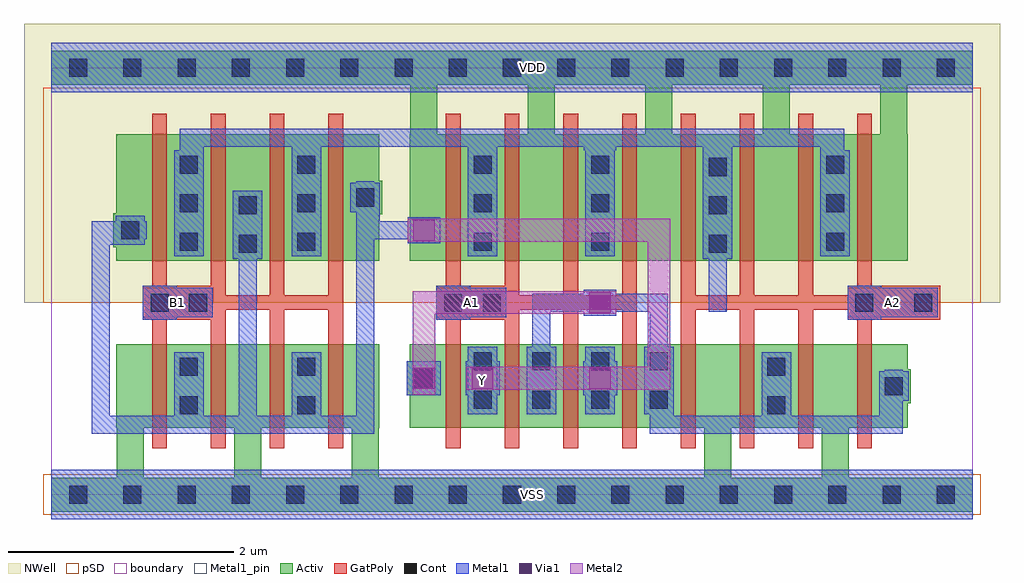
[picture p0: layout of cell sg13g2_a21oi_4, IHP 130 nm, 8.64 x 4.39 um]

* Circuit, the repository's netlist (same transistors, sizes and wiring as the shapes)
.SUBCKT sg13g2_a21oi_4 Y A1 A2 B1 VDD VSS
*.PININFO A1:I A2:I B1:I Y:O VDD:B VSS:B
MN0 Y B1 VSS VSS sg13_lv_nmos w=2.96u l=130.00n ng=4
MN2 net2 A2 VSS VSS sg13_lv_nmos w=2.96u l=130.00n ng=4
MN1 Y A1 net2 VSS sg13_lv_nmos w=2.96u l=130.00n ng=4
MP2 Y B1 net1 VDD sg13_lv_pmos w=4.48u l=130.00n ng=4
MP1 net1 A2 VDD VDD sg13_lv_pmos w=4.48u l=130.00n ng=4
MP0 net1 A1 VDD VDD sg13_lv_pmos w=4.48u l=130.00n ng=4
.ENDS

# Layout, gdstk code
import gdstk
lib = gdstk.Library(unit=1e-6, precision=1e-09)
def R(c, l, rs):  # rectangles x0, y0, x1, y1
    for r in rs: c.add(gdstk.rectangle(r[:2], r[2:], *l))
def A(c, l, x, y, w, h, nx, ny, dx, dy):  # array of equal rectangles
    R(c, l, [(x+i*dx, y+j*dy, x+i*dx+w, y+j*dy+h) for i in range(nx) for j in range(ny)])
def P(c, l, *ps):  # polygons
    for p in ps: c.add(gdstk.Polygon(p, *l))
Activ = (1, 0)
GatPoly = (5, 0)
Cont = (6, 0)
Metal1 = (8, 0)
Metal1_pin = (8, 2)
Metal2 = (10, 0)
pSD = (14, 0)
Via1 = (19, 0)
NWell = (31, 0)
boundary = (189, 4)

sg13g2_a21oi_4 = lib.new_cell('sg13g2_a21oi_4')
P(sg13g2_a21oi_4, Activ, [(6.02,0.59),(6.02,1.33),(3.175,1.33),(3.175,1.18),(3.15,1.18),(3.15,0.88),(3.175,0.88),(3.175,0.59),(5.78,0.59),(5.78,0.15),(2.9,0.15),(2.9,0.59),(2.905,0.59),(2.905,1.33),(1.86,1.33),(1.86,0.59),(1.86,1.33),(0.82,1.33),(0.82,0.59),(0.82,1.33),(0.575,1.33),(0.575,0.59),(0.58,0.59),(0.58,0.15),(0,0.15),(0,-0.15),(0.82,-0.15),(0.82,0.59),(1.62,0.59),(1.62,0.15),(0.82,0.15),(0.82,-0.15),(1.86,-0.15),(1.86,0.59),(2.66,0.59),(2.66,0.15),(1.86,0.15),(1.86,-0.15),(6.02,-0.15),(6.02,0.59),(6.82,0.59),(6.82,0.15),(6.02,0.15),(6.02,-0.15),(8.16,-0.15),(8.16,0.15),(7.06,0.15),(7.06,0.59),(7.585,0.59),(7.585,0.81),(7.61,0.81),(7.61,1.11),(7.585,1.11),(7.585,1.33),(6.02,1.33)],
  [(3.18,3.19),(3.42,3.19),(3.42,3.63),(4.22,3.63),(4.22,3.19),(4.46,3.19),(4.46,3.63),(5.26,3.63),(5.26,3.19),(5.5,3.19),(5.5,3.63),(6.3,3.63),(6.3,3.19),(6.54,3.19),(6.54,3.63),(7.34,3.63),(7.34,3.19),(7.58,3.19),(7.58,3.63),(8.16,3.63),(8.16,3.93),(0,3.93),(0,3.63),(3.18,3.63),(3.18,3.19),(3.175,3.19),(3.175,2.07),(7.585,2.07),(7.585,3.19)],
  [(0.55,2.19),(0.575,2.19),(0.575,2.07),(2.905,2.07),(2.905,2.48),(2.93,2.48),(2.93,2.78),(2.905,2.78),(2.905,3.19),(0.575,3.19),(0.575,2.49),(0.55,2.49)])
P(sg13g2_a21oi_4, GatPoly, [(0.81,1.55),(0.895,1.55),(0.895,0.41),(1.025,0.41),(1.025,1.55),(1.415,1.55),(1.415,0.41),(1.545,0.41),(1.545,1.635),(1.935,1.635),(1.935,0.41),(2.065,0.41),(2.065,1.635),(2.455,1.635),(2.455,0.41),(2.585,0.41),(2.585,3.37),(2.455,3.37),(2.455,1.765),(2.065,1.765),(2.065,3.37),(1.935,3.37),(1.935,1.765),(1.545,1.765),(1.545,3.37),(1.415,3.37),(1.415,1.85),(1.025,1.85),(1.025,3.37),(0.895,3.37),(0.895,1.85),(0.81,1.85)],
  [(3.41,1.55),(3.495,1.55),(3.495,0.41),(3.625,0.41),(3.625,1.55),(4.015,1.55),(4.015,0.41),(4.145,0.41),(4.145,1.635),(4.535,1.635),(4.535,0.41),(4.665,0.41),(4.665,1.635),(5.055,1.635),(5.055,0.41),(5.185,0.41),(5.185,3.37),(5.055,3.37),(5.055,1.765),(4.665,1.765),(4.665,3.37),(4.535,3.37),(4.535,1.765),(4.145,1.765),(4.145,3.37),(4.015,3.37),(4.015,1.85),(3.625,1.85),(3.625,3.37),(3.495,3.37),(3.495,1.85),(3.41,1.85)],
  [(5.575,0.41),(5.705,0.41),(5.705,1.635),(6.095,1.635),(6.095,0.41),(6.225,0.41),(6.225,1.635),(6.615,1.635),(6.615,0.41),(6.745,0.41),(6.745,1.635),(7.05,1.635),(7.05,1.55),(7.135,1.55),(7.135,0.41),(7.265,0.41),(7.265,1.55),(7.87,1.55),(7.87,1.85),(7.265,1.85),(7.265,3.37),(7.135,3.37),(7.135,1.85),(7.05,1.85),(7.05,1.765),(6.745,1.765),(6.745,3.37),(6.615,3.37),(6.615,1.765),(6.225,1.765),(6.225,3.37),(6.095,3.37),(6.095,1.765),(5.705,1.765),(5.705,3.37),(5.575,3.37)])
A(sg13g2_a21oi_4, Cont, 0.16, -0.08, 0.16, 0.16, 17, 2, 0.48, 3.78)
A(sg13g2_a21oi_4, Cont, 3.74, 0.76, 0.16, 0.16, 4, 2, 0.52, 0.34)
A(sg13g2_a21oi_4, Cont, 5.82, 2.14, 0.16, 0.16, 1, 3, 0, 0.34)
A(sg13g2_a21oi_4, Cont, 1.14, 2.16, 0.16, 0.16, 1, 3, 0, 0.34)
A(sg13g2_a21oi_4, Cont, 2.18, 2.16, 0.16, 0.16, 1, 3, 0, 0.34)
A(sg13g2_a21oi_4, Cont, 3.74, 2.16, 0.16, 0.16, 1, 3, 0, 0.34)
A(sg13g2_a21oi_4, Cont, 4.78, 2.16, 0.16, 0.16, 1, 3, 0, 0.34)
A(sg13g2_a21oi_4, Cont, 6.86, 2.16, 0.16, 0.16, 1, 3, 0, 0.34)
R(sg13g2_a21oi_4, Cont, [(1.14,0.71,1.3,0.87), (2.18,0.71,2.34,0.87), (6.34,0.71,6.5,0.87), (7.38,0.88,7.54,1.04), (3.22,0.95,3.38,1.11), (1.14,1.05,1.3,1.21), (2.18,1.05,2.34,1.21), (6.34,1.05,6.5,1.21), (0.88,1.62,1.04,1.78), (1.22,1.62,1.38,1.78), (3.48,1.62,3.64,1.78), (3.82,1.62,3.98,1.78), (7.12,1.62,7.28,1.78), (7.64,1.62,7.8,1.78), (1.66,2.14,1.82,2.3), (0.62,2.26,0.78,2.42), (1.66,2.48,1.82,2.64), (2.7,2.55,2.86,2.71)])
R(sg13g2_a21oi_4, Metal1, [(0,-0.22,8.16,0.22), (3.15,0.88,3.45,1.18), (0,3.56,8.16,4)])
P(sg13g2_a21oi_4, Metal1, [(0.36,0.54),(2.86,0.54),(2.86,2.26),(3.155,2.26),(3.155,2.225),(3.445,2.225),(3.445,2.455),(3.155,2.455),(3.155,2.42),(2.91,2.42),(2.91,2.76),(2.86,2.76),(2.86,2.775),(2.7,2.775),(2.7,2.76),(2.65,2.76),(2.65,2.5),(2.7,2.5),(2.7,0.7),(2.39,0.7),(2.39,1.26),(2.13,1.26),(2.13,0.7),(1.82,0.7),(1.82,2.09),(1.87,2.09),(1.87,2.69),(1.61,2.69),(1.61,2.09),(1.66,2.09),(1.66,0.7),(1.35,0.7),(1.35,1.26),(1.09,1.26),(1.09,0.7),(0.52,0.7),(0.52,2.21),(0.83,2.21),(0.83,2.26),(0.845,2.26),(0.845,2.42),(0.83,2.42),(0.83,2.47),(0.57,2.47),(0.57,2.42),(0.36,2.42)],
  [(0.81,1.55),(1.11,1.55),(1.11,1.57),(1.43,1.57),(1.43,1.83),(1.11,1.83),(1.11,1.85),(0.81,1.85)],
  [(1.09,2.11),(1.35,2.11),(1.35,3.08),(2.13,3.08),(2.13,2.11),(2.39,2.11),(2.39,3.08),(3.69,3.08),(3.69,2.11),(3.95,2.11),(3.95,3.08),(4.715,3.08),(4.715,3.05),(4.73,3.05),(4.73,2.11),(4.99,2.11),(4.99,3.05),(5.005,3.05),(5.005,3.08),(5.77,3.08),(5.77,2.09),(5.82,2.09),(5.82,1.62),(5.98,1.62),(5.98,2.09),(6.03,2.09),(6.03,3.08),(6.81,3.08),(6.81,2.11),(7.07,2.11),(7.07,3.05),(7.02,3.05),(7.02,3.24),(1.14,3.24),(1.14,3.05),(1.09,3.05)],
  [(3.41,1.55),(3.71,1.55),(3.71,1.57),(4.03,1.57),(4.03,1.83),(3.71,1.83),(3.71,1.85),(3.41,1.85)],
  [(3.67,0.88),(3.69,0.88),(3.69,0.71),(3.95,0.71),(3.95,0.88),(3.97,0.88),(3.97,1.18),(3.95,1.18),(3.95,1.31),(3.69,1.31),(3.69,1.18),(3.67,1.18)],
  [(4.21,0.71),(4.47,0.71),(4.47,1.31),(4.42,1.31),(4.42,1.62),(4.715,1.62),(4.715,1.585),(5.005,1.585),(5.005,1.62),(5.3,1.62),(5.3,1.31),(5.25,1.31),(5.25,0.71),(5.3,0.71),(5.3,0.54),(7.54,0.54),(7.54,0.83),(7.59,0.83),(7.59,1.09),(7.54,1.09),(7.54,1.105),(7.38,1.105),(7.38,1.09),(7.33,1.09),(7.33,0.7),(6.55,0.7),(6.55,1.26),(6.29,1.26),(6.29,0.7),(5.51,0.7),(5.51,1.31),(5.46,1.31),(5.46,1.78),(5.005,1.78),(5.005,1.815),(4.715,1.815),(4.715,1.78),(4.26,1.78),(4.26,1.31),(4.21,1.31)],
  [(4.71,0.88),(4.73,0.88),(4.73,0.71),(4.99,0.71),(4.99,0.88),(5.01,0.88),(5.01,1.18),(4.99,1.18),(4.99,1.31),(4.73,1.31),(4.73,1.18),(4.71,1.18)],
  [(7.05,1.55),(7.35,1.55),(7.35,1.57),(7.85,1.57),(7.85,1.83),(7.35,1.83),(7.35,1.85),(7.05,1.85)])
R(sg13g2_a21oi_4, Metal1_pin, [(0,-0.22,8.16,0.22), (3.69,0.71,3.95,1.31), (0.81,1.57,1.43,1.83), (3.41,1.57,4.03,1.83), (7.05,1.57,7.85,1.83), (0,3.56,8.16,4)])
P(sg13g2_a21oi_4, Metal2, [(3.155,2.24),(5.28,2.24),(5.28,1.13),(3.675,1.13),(3.675,0.93),(5.48,0.93),(5.48,2.44),(3.155,2.44)],
  [(3.2,0.885),(3.4,0.885),(3.4,1.6),(5.005,1.6),(5.005,1.8),(3.2,1.8)])
R(sg13g2_a21oi_4, pSD, [(-0.07,-0.18,8.23,0.18), (-0.07,1.7,8.23,3.6)])
R(sg13g2_a21oi_4, Via1, [(3.205,0.935,3.395,1.125), (3.725,0.935,3.915,1.125), (4.765,0.935,4.955,1.125), (4.765,1.605,4.955,1.795), (3.205,2.245,3.395,2.435)])
R(sg13g2_a21oi_4, NWell, [(-0.24,1.7,8.4,4.17)])
R(sg13g2_a21oi_4, boundary, [(0,0,8.16,3.78)])
sg13g2_a21oi_4.add(gdstk.Label('Y', (3.82,1.01), layer=8, texttype=25))
sg13g2_a21oi_4.add(gdstk.Label('B1', (1.12,1.7), layer=8, texttype=25))
sg13g2_a21oi_4.add(gdstk.Label('A1', (3.72,1.7), layer=8, texttype=25))
sg13g2_a21oi_4.add(gdstk.Label('A2', (7.45,1.7), layer=8, texttype=25))
sg13g2_a21oi_4.add(gdstk.Label('VSS', (4.26,0), layer=8, texttype=25))
sg13g2_a21oi_4.add(gdstk.Label('VDD', (4.26,3.78), layer=8, texttype=25))

lib.write_gds('sg13g2_a21oi_4.gds')
